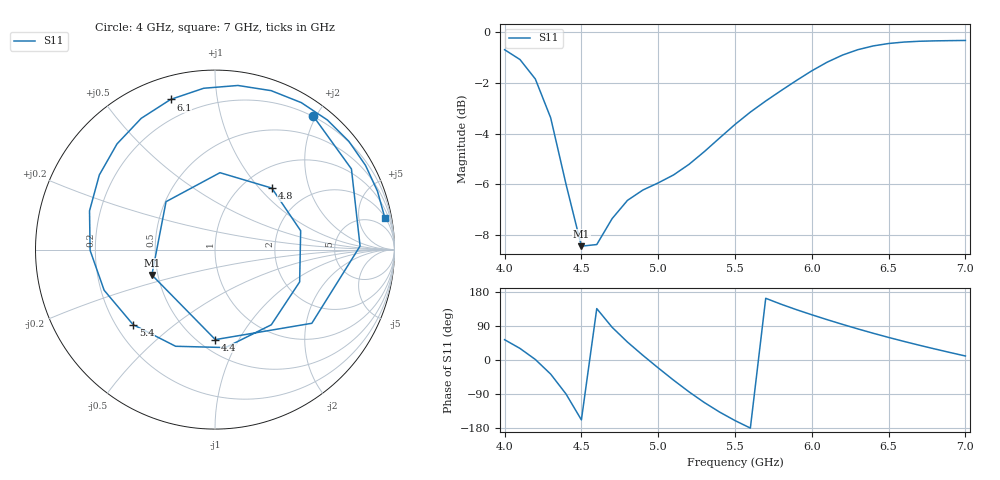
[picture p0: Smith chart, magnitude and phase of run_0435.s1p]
! Touchstone file exported from HFSS 2024.2.0
!  File:  C:/Users/wsak9/Desktop/Sim Fast/Widenad Patch/WP_AI_V1_sweep.aedt
!  Generated:  09:52:02 AM Oct 14, 2026
!  Design:  A1_model
!  Project:  WP_AI_V1_sweep
!  Setup:  Setup1
!  Solution:  Sweep
! Variables:
!  Air_gap = 2.97mm
!  Curve_Amp1 = 0.97
!  Curve_len1 = 1
!  Curve_pos = 12.17mm
!  Extra = 2.87mm
!  H_sub = 0.79mm
!  L_Patch = 20.34mm
!  L_Patch1 = 14.59mm
!  Sx = 2.14mm
!  Sy = 1.43mm
!  WS = 0.43mm
!  W_Patch = 16.59mm
!  W_Patch1 = 11.72mm
!Data is not renormalized
# GHz S MA
! Terminal data exported
! Port[1] = 1
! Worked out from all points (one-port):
!   31 points, 4 GHz to 7 GHz, reference per port
!   lowest |S11| = -8.4 dB at 4.5 GHz (marker M1), VSWR 2.22
!   |S11| at or under -10 dB: nowhere
!   S11 on the Smith chart (normalised r, x): 4 GHz: 0.20, +1.97; 4.4 GHz: 0.60, -0.80; 4.8 GHz: 1.34, +1.17; 5.4 GHz: 0.27, -0.36; 6.1 GHz: 0.11, +0.74; 7 GHz: 2, +10
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4  0.9232 53.5
4.1  0.883 30.6
4.2  0.8085 1.4
4.3  0.678 -37.3
4.4  0.5015 -89.8
4.5  0.379 -158.1
4.6  0.3818 135.6
4.7  0.4294 86.3
4.8  0.4664 47.3
4.9  0.4887 12.4
5  0.5048 -20.9
5.1  0.5233 -53.2
5.2  0.5489 -83.9
5.3  0.5816 -112.2
5.4  0.6188 -137.5
5.5  0.6579 -159.9
5.6  0.6958 -179.6
5.7  0.7316 162.8
5.8  0.767 147.2
5.9  0.803 132.8
6.1  0.8725 106.4
6.2  0.9011 94.0
6.3  0.9233 82.0
6.4  0.9392 70.6
6.5  0.9496 59.6
6.7  0.9592 39.0
6.8  0.961 29.2
7  0.9627 10.6
